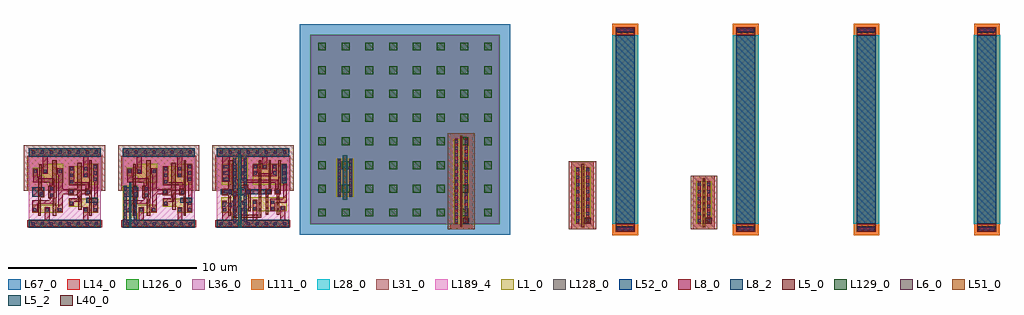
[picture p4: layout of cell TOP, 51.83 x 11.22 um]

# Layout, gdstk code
import gdstk
lib = gdstk.Library(unit=1e-6, precision=1e-09)
def R(c, l, rs):  # rectangles x0, y0, x1, y1
    for r in rs: c.add(gdstk.rectangle(r[:2], r[2:], *l))
def A(c, l, x, y, w, h, nx, ny, dx, dy):  # array of equal rectangles
    R(c, l, [(x+i*dx, y+j*dy, x+i*dx+w, y+j*dy+h) for i in range(nx) for j in range(ny)])
def P(c, l, *ps):  # polygons
    for p in ps: c.add(gdstk.Polygon(p, *l))
L1_0 = (1, 0)
L5_0 = (5, 0)
L5_2 = (5, 2)
L6_0 = (6, 0)
L8_0 = (8, 0)
L8_2 = (8, 2)
L14_0 = (14, 0)
L28_0 = (28, 0)
L31_0 = (31, 0)
L36_0 = (36, 0)
L40_0 = (40, 0)
L51_0 = (51, 0)
L52_0 = (52, 0)
L67_0 = (67, 0)
L111_0 = (111, 0)
L126_0 = (126, 0)
L128_0 = (128, 0)
L129_0 = (129, 0)
L189_4 = (189, 4)

sg13g2_dlygate4sd2_1 = lib.new_cell('sg13g2_dlygate4sd2_1')
R(sg13g2_dlygate4sd2_1, L1_0, [(0,-0.15,3.84,0.15), (0.19,0.59,1.81,1.01), (0,3.63,3.84,3.93)])
P(sg13g2_dlygate4sd2_1, L1_0, [(2.895,0.59),(2.895,0.91),(2.13,0.91),(2.13,1.33),(3.705,1.33),(3.705,0.59)],
  [(2.13,2.06),(2.13,3.06),(2.91,3.06),(2.91,3.18),(3.705,3.18),(3.705,2.06)],
  [(0.8,2.18),(0.8,2.555),(0.22,2.555),(0.22,2.975),(0.8,2.975),(0.8,3.18),(1.84,3.18),(1.84,2.18)])
P(sg13g2_dlygate4sd2_1, L5_0, [(2.645,0.73),(2.645,1.52),(2.12,1.52),(2.12,1.85),(2.575,1.85),(2.575,3.24),(2.825,3.24),(2.825,0.73)],
  [(0.53,0.41),(0.53,2.48),(0.56,2.48),(0.56,3.155),(0.69,3.155),(0.69,1.74),(0.84,1.74),(0.84,1.41),(0.66,1.41),(0.66,0.41)],
  [(1.29,0.41),(1.29,1.35),(1.05,1.35),(1.05,2.02),(1.25,2.02),(1.25,3.36),(1.5,3.36),(1.5,1.35),(1.47,1.35),(1.47,0.41)],
  [(3.235,0.41),(3.235,1.515),(3.02,1.515),(3.02,1.845),(3.235,1.845),(3.235,3.36),(3.365,3.36),(3.365,0.41)])
A(sg13g2_dlygate4sd2_1, L6_0, 0.16, -0.08, 0.16, 0.16, 8, 2, 0.48, 3.78)
A(sg13g2_dlygate4sd2_1, L6_0, 2.215, 2.15, 0.16, 0.16, 1, 3, 0, 0.34)
A(sg13g2_dlygate4sd2_1, L6_0, 3.475, 2.27, 0.16, 0.16, 1, 3, 0, 0.34)
R(sg13g2_dlygate4sd2_1, L6_0, [(0.26,0.66,0.42,0.82), (0.91,0.66,1.07,0.82), (1.58,0.66,1.74,0.82), (2.965,0.66,3.125,0.82), (3.475,0.66,3.635,0.82), (3.475,1,3.635,1.16), (2.2,1.015,2.36,1.175), (1.165,1.435,1.325,1.595), (0.605,1.495,0.765,1.655), (3.105,1.6,3.265,1.76), (2.19,1.605,2.35,1.765), (1.165,1.775,1.325,1.935), (2.95,2.495,3.11,2.655), (0.29,2.7,0.45,2.86), (0.8,2.7,0.96,2.86), (1.61,2.7,1.77,2.86), (2.95,2.835,3.11,2.995)])
R(sg13g2_dlygate4sd2_1, L8_0, [(0.205,1.425,0.835,1.945)])
P(sg13g2_dlygate4sd2_1, L8_0, [(2.155,0.96),(2.155,1.36),(2.58,1.36),(2.58,1.81),(3.045,1.81),(3.045,2.03),(2.165,2.03),(2.165,3.04),(2.425,3.04),(2.425,2.205),(3.205,2.205),(3.205,1.81),(3.315,1.81),(3.315,1.55),(2.74,1.55),(2.74,1.16),(2.395,1.16),(2.395,0.96)],
  [(1.52,0.61),(1.52,0.87),(1.58,0.87),(1.58,2.615),(1.52,2.615),(1.52,2.945),(1.825,2.945),(1.825,1.815),(2.4,1.815),(2.4,1.555),(1.81,1.555),(1.81,0.61)],
  [(0.21,0.61),(0.21,1.24),(1.12,1.24),(1.12,2.195),(0.24,2.195),(0.24,2.91),(0.5,2.91),(0.5,2.4),(1.375,2.4),(1.375,1.065),(0.48,1.065),(0.48,0.61)],
  [(3.425,0.61),(3.425,1.115),(3.065,1.115),(3.065,1.37),(3.495,1.37),(3.495,2.22),(3.43,2.22),(3.43,3.16),(3.685,3.16),(3.685,0.61)],
  [(2.9,2.455),(2.9,3.56),(1.01,3.56),(1.01,2.65),(0.745,2.65),(0.745,3.56),(0,3.56),(0,4),(3.84,4),(3.84,3.56),(3.16,3.56),(3.16,2.455)],
  [(0,-0.22),(0,0.22),(0.86,0.22),(0.86,0.87),(1.12,0.87),(1.12,0.22),(2.915,0.22),(2.915,0.87),(3.175,0.87),(3.175,0.22),(3.84,0.22),(3.84,-0.22)])
R(sg13g2_dlygate4sd2_1, L8_2, [(0,-0.22,3.84,0.22), (3.065,1.115,3.685,1.37), (0.205,1.425,0.835,1.945), (0,3.56,3.84,4)])
R(sg13g2_dlygate4sd2_1, L14_0, [(-0.07,-0.18,3.91,0.18), (-0.07,1.76,3.91,3.6)])
R(sg13g2_dlygate4sd2_1, L31_0, [(-0.24,1.75,4.08,4.17)])
R(sg13g2_dlygate4sd2_1, L189_4, [(0,0,3.84,3.78)])
sg13g2_dlygate4sd2_1.add(gdstk.Label('X', (3.36,1.26), layer=8, texttype=25))
sg13g2_dlygate4sd2_1.add(gdstk.Label('VDD', (2.085,3.79), layer=8, texttype=25))
sg13g2_dlygate4sd2_1.add(gdstk.Label('VSS', (2.2,0.005), layer=8, texttype=25))
sg13g2_dlygate4sd2_1.add(gdstk.Label('A', (0.52,1.68), layer=8, texttype=25))

sg13g2_inv_2 = lib.new_cell('sg13g2_inv_2')
R(sg13g2_inv_2, L1_0, [(0,-0.15,1.92,0.15), (0.265,0.59,1.585,1.33), (0.265,2.06,1.59,3.18), (0,3.63,1.92,3.93)])
P(sg13g2_inv_2, L5_0, [(0.605,0.41),(0.605,1.52),(0.305,1.52),(0.305,1.85),(0.605,1.85),(0.605,3.36),(0.735,3.36),(0.735,1.67),(1.115,1.67),(1.115,3.36),(1.245,3.36),(1.245,0.41),(1.115,0.41),(1.115,1.52),(0.735,1.52),(0.735,0.41)])
A(sg13g2_inv_2, L6_0, 0.335, 0.66, 0.16, 0.16, 3, 2, 0.51, 0.34)
A(sg13g2_inv_2, L6_0, 0.335, 2.27, 0.16, 0.16, 1, 3, 0, 0.34)
A(sg13g2_inv_2, L6_0, 0.845, 2.27, 0.16, 0.16, 1, 3, 0, 0.34)
A(sg13g2_inv_2, L6_0, 1.36, 2.27, 0.16, 0.16, 1, 3, 0, 0.34)
R(sg13g2_inv_2, L6_0, [(0.16,-0.08,0.32,0.08), (0.16,-0.08,0.32,0.08), (0.64,-0.08,0.8,0.08), (0.64,-0.08,0.8,0.08), (1.12,-0.08,1.28,0.08), (1.12,-0.08,1.28,0.08), (1.6,-0.08,1.76,0.08), (1.6,-0.08,1.76,0.08), (0.39,1.605,0.55,1.765), (0.16,3.7,0.32,3.86), (0.16,3.7,0.32,3.86), (0.64,3.7,0.8,3.86), (0.64,3.7,0.8,3.86), (1.12,3.7,1.28,3.86), (1.12,3.7,1.28,3.86), (1.6,3.7,1.76,3.86), (1.6,3.7,1.76,3.86)])
R(sg13g2_inv_2, L8_0, [(0.255,1.52,0.635,1.85)])
P(sg13g2_inv_2, L8_0, [(0.285,2.22),(0.285,3.56),(0,3.56),(0,4),(1.92,4),(1.92,3.56),(1.57,3.56),(1.57,2.22),(1.31,2.22),(1.31,3.56),(0.545,3.56),(0.545,2.22)],
  [(0,-0.22),(0,0.22),(0.285,0.22),(0.285,1.21),(0.545,1.21),(0.545,0.22),(1.305,0.22),(1.305,1.21),(1.565,1.21),(1.565,0.22),(1.92,0.22),(1.92,-0.22)],
  [(0.795,0.61),(0.795,1.21),(0.87,1.21),(0.87,2.22),(0.795,2.22),(0.795,3.18),(1.055,3.18),(1.055,1.85),(1.59,1.85),(1.59,1.52),(1.055,1.52),(1.055,0.61)])
R(sg13g2_inv_2, L8_2, [(0,-0.22,1.92,0.22), (0.255,1.52,0.635,1.85), (0.87,1.52,1.59,1.85), (0,3.56,1.92,4)])
R(sg13g2_inv_2, L14_0, [(-0.07,-0.18,1.99,0.18), (-0.07,1.76,1.99,3.6)])
R(sg13g2_inv_2, L31_0, [(-0.24,1.75,2.16,4.17)])
R(sg13g2_inv_2, L189_4, [(0,0,1.92,3.78)])
sg13g2_inv_2.add(gdstk.Label('VSS', (0.89,0), layer=8, texttype=25))
sg13g2_inv_2.add(gdstk.Label('VDD', (0.935,3.785), layer=8, texttype=25))
sg13g2_inv_2.add(gdstk.Label('Y', (1.44,1.68), layer=8, texttype=25))
sg13g2_inv_2.add(gdstk.Label('A', (0.48,1.68), layer=8, texttype=25))

dline = lib.new_cell('DLine')
dline.add(gdstk.Reference(sg13g2_dlygate4sd2_1, (0,0)))
dline.add(gdstk.Reference(sg13g2_dlygate4sd2_1, (4.998,0)))
dline.add(gdstk.Reference(sg13g2_inv_2, (9.996,0)))

nmos = lib.new_cell('nmos')
R(nmos, L1_0, [(0,0,0.3,0.3), (0,0,0.81,2), (0.51,0,0.81,0.3)])
R(nmos, L5_0, [(0.34,-0.18,0.47,2.18)])
R(nmos, L5_2, [(0.34,-0.18,0.47,2.18)])
A(nmos, L6_0, 0.07, 0.07, 0.16, 0.16, 1, 6, 0, 0.34)
A(nmos, L6_0, 0.58, 0.07, 0.16, 0.16, 1, 6, 0, 0.34)
R(nmos, L8_0, [(0.07,0,0.23,2), (0.58,0,0.74,2)])
R(nmos, L8_2, [(0.07,0,0.23,2), (0.58,0,0.74,2)])
R(nmos, L51_0, [(0.34,-0.18,0.47,2.18)])
nmos.add(gdstk.Label('nmos', (0.405,1), layer=63, texttype=0))
nmos.add(gdstk.Label('nmos', (0.405,1), layer=51, texttype=0))

nmos_1 = lib.new_cell('nmos$1')
R(nmos_1, L1_0, [(0,0,0.3,0.3), (0,0,0.84,3.5), (0.54,0,0.84,0.3)])
R(nmos_1, L5_0, [(0.34,-0.18,0.5,3.68)])
R(nmos_1, L5_2, [(0.34,-0.18,0.5,3.68)])
A(nmos_1, L6_0, 0.07, 0.07, 0.16, 0.16, 1, 9, 0, 0.355)
A(nmos_1, L6_0, 0.61, 0.07, 0.16, 0.16, 1, 9, 0, 0.355)
R(nmos_1, L6_0, [(0.07,3.27,0.23,3.43), (0.61,3.27,0.77,3.43)])
R(nmos_1, L8_0, [(0.07,0,0.23,3.5), (0.61,0,0.77,3.5)])
R(nmos_1, L8_2, [(0.07,0,0.23,3.5), (0.61,0,0.77,3.5)])
R(nmos_1, L51_0, [(0.34,-0.18,0.5,3.68)])
nmos_1.add(gdstk.Label('nmos', (0.42,1.75), layer=63, texttype=0))
nmos_1.add(gdstk.Label('nmos', (0.42,1.75), layer=51, texttype=0))

nmos_2 = lib.new_cell('nmos$2')
R(nmos_2, L1_0, [(0,0,0.3,0.3), (0,0,0.93,2), (0.63,0,0.93,0.3)])
R(nmos_2, L5_0, [(0.34,-0.18,0.59,2.18)])
R(nmos_2, L5_2, [(0.34,-0.18,0.59,2.18)])
A(nmos_2, L6_0, 0.07, 0.07, 0.16, 0.16, 1, 6, 0, 0.34)
A(nmos_2, L6_0, 0.7, 0.07, 0.16, 0.16, 1, 6, 0, 0.34)
R(nmos_2, L8_0, [(0.07,0,0.23,2), (0.7,0,0.86,2)])
R(nmos_2, L8_2, [(0.07,0,0.23,2), (0.7,0,0.86,2)])
R(nmos_2, L51_0, [(0.34,-0.18,0.59,2.18)])
nmos_2.add(gdstk.Label('nmos', (0.465,1), layer=63, texttype=0))
nmos_2.add(gdstk.Label('nmos', (0.465,1), layer=51, texttype=0))

pmos = lib.new_cell('pmos')
R(pmos, L1_0, [(0,0,0.3,0.3), (0,0,0.81,4.5), (0.51,0,0.81,0.3)])
R(pmos, L5_0, [(0.34,-0.18,0.47,4.68), (0.34,-0.18,0.47,4.68)])
A(pmos, L6_0, 0.07, 0.07, 0.16, 0.16, 1, 13, 0, 0.35)
A(pmos, L6_0, 0.58, 0.07, 0.16, 0.16, 1, 13, 0, 0.35)
R(pmos, L8_0, [(0.07,0,0.23,4.5), (0.07,0,0.23,4.5), (0.58,0,0.74,4.5), (0.58,0,0.74,4.5)])
R(pmos, L14_0, [(-0.18,-0.3,0.99,4.8)])
R(pmos, L31_0, [(-0.31,-0.31,1.12,4.81)])
R(pmos, L40_0, [(0.51,0,0.81,0.3)])
R(pmos, L51_0, [(0.34,-0.18,0.47,4.68)])
pmos.add(gdstk.Label('pmos', (0.405,2.25), layer=63, texttype=0))
pmos.add(gdstk.Label('pmos', (0.405,2.25), layer=51, texttype=0))

pmos_1 = lib.new_cell('pmos$1')
R(pmos_1, L1_0, [(0,0,0.3,0.3), (0,0,0.84,3), (0.54,0,0.84,0.3)])
R(pmos_1, L5_0, [(0.34,-0.18,0.5,3.18), (0.34,-0.18,0.5,3.18)])
A(pmos_1, L6_0, 0.07, 0.07, 0.16, 0.16, 1, 7, 0, 0.385)
A(pmos_1, L6_0, 0.61, 0.07, 0.16, 0.16, 1, 7, 0, 0.385)
R(pmos_1, L6_0, [(0.07,2.77,0.23,2.93), (0.61,2.77,0.77,2.93)])
R(pmos_1, L8_0, [(0.07,0,0.23,3), (0.07,0,0.23,3), (0.61,0,0.77,3), (0.61,0,0.77,3)])
R(pmos_1, L14_0, [(-0.18,-0.3,1.02,3.3)])
R(pmos_1, L31_0, [(-0.31,-0.31,1.15,3.31)])
R(pmos_1, L40_0, [(0.54,0,0.84,0.3)])
R(pmos_1, L51_0, [(0.34,-0.18,0.5,3.18)])
pmos_1.add(gdstk.Label('pmos', (0.42,1.5), layer=63, texttype=0))
pmos_1.add(gdstk.Label('pmos', (0.42,1.5), layer=51, texttype=0))

pmos_2 = lib.new_cell('pmos$2')
R(pmos_2, L1_0, [(0,0,0.3,0.3), (0,0,0.81,2.24), (0.51,0,0.81,0.3)])
R(pmos_2, L5_0, [(0.34,-0.18,0.47,2.42), (0.34,-0.18,0.47,2.42)])
A(pmos_2, L6_0, 0.07, 1.23, 0.16, 0.16, 1, 3, 0, 0.39)
A(pmos_2, L6_0, 0.58, 1.23, 0.16, 0.16, 1, 3, 0, 0.39)
R(pmos_2, L6_0, [(0.07,0.07,0.23,0.23), (0.58,0.07,0.74,0.23), (0.07,0.455,0.23,0.615), (0.58,0.455,0.74,0.615), (0.07,0.845,0.23,1.005), (0.58,0.845,0.74,1.005)])
R(pmos_2, L8_0, [(0.07,0,0.23,2.24), (0.07,0,0.23,2.24), (0.58,0,0.74,2.24), (0.58,0,0.74,2.24)])
R(pmos_2, L14_0, [(-0.18,-0.3,0.99,2.54)])
R(pmos_2, L31_0, [(-0.31,-0.31,1.12,2.55)])
R(pmos_2, L40_0, [(0.51,0,0.81,0.3)])
R(pmos_2, L51_0, [(0.34,-0.18,0.47,2.42)])
pmos_2.add(gdstk.Label('pmos', (0.405,1.12), layer=63, texttype=0))
pmos_2.add(gdstk.Label('pmos', (0.405,1.12), layer=51, texttype=0))

vcdl = lib.new_cell('VCDL')
vcdl.add(gdstk.Reference(nmos, (0,0)))
vcdl.add(gdstk.Reference(nmos_1, (5.81,0)))
vcdl.add(gdstk.Reference(nmos_2, (11.345,1.44)))
vcdl.add(gdstk.Reference(pmos, (17.58,0)))
vcdl.add(gdstk.Reference(pmos_1, (24.01,0)))
vcdl.add(gdstk.Reference(pmos_2, (30.47,0)))

sg13g2_xor2_1 = lib.new_cell('sg13g2_xor2_1')
R(sg13g2_xor2_1, L1_0, [(0,-0.15,3.84,0.15), (1.9,2.06,3.73,3.18), (0.395,2.18,1.6,3.18), (0,3.63,3.84,3.93)])
P(sg13g2_xor2_1, L1_0, [(1.88,0.65),(1.88,0.84),(0.235,0.84),(0.235,1.39),(3.73,1.39),(3.73,0.65)])
P(sg13g2_xor2_1, L5_0, [(1.68,0.66),(1.68,1.55),(1.51,1.55),(1.51,1.91),(1.13,1.91),(1.13,3.365),(1.26,3.365),(1.26,2.06),(1.67,2.06),(1.67,1.85),(1.81,1.85),(1.81,0.66)],
  [(2.61,0.47),(2.61,1.85),(2.75,1.85),(2.75,3.365),(2.88,3.365),(2.88,1.85),(2.91,1.85),(2.91,1.55),(2.74,1.55),(2.74,0.47)],
  [(3.18,0.47),(3.18,1.55),(3.09,1.55),(3.09,1.85),(3.26,1.85),(3.26,3.365),(3.39,3.365),(3.39,1.55),(3.31,1.55),(3.31,0.47)],
  [(0.915,0.32),(0.915,1.55),(0.54,1.55),(0.54,1.85),(0.755,1.85),(0.755,3.365),(0.885,3.365),(0.885,1.72),(1.045,1.72),(1.045,0.47),(2.24,0.47),(2.24,3.365),(2.37,3.365),(2.37,0.32)])
A(sg13g2_xor2_1, L6_0, 0.16, -0.08, 0.16, 0.16, 8, 2, 0.48, 3.78)
A(sg13g2_xor2_1, L6_0, 0.485, 2.27, 0.16, 0.16, 1, 3, 0, 0.34)
A(sg13g2_xor2_1, L6_0, 1.37, 2.27, 0.16, 0.16, 1, 3, 0, 0.34)
A(sg13g2_xor2_1, L6_0, 1.97, 2.95, 0.16, 0.16, 4, 1, 0.51, 0)
R(sg13g2_xor2_1, L6_0, [(1.95,0.72,2.11,0.88), (2.885,0.72,3.045,0.88), (3.42,0.725,3.58,0.885), (0.305,0.91,0.465,1.07), (0.645,0.91,0.805,1.07), (1.155,0.91,1.315,1.07), (1.95,1.06,2.11,1.22), (2.885,1.06,3.045,1.22), (0.61,1.62,0.77,1.78), (1.58,1.62,1.74,1.78), (2.68,1.62,2.84,1.78), (3.16,1.62,3.32,1.78), (3.5,2.27,3.66,2.43), (1.97,2.61,2.13,2.77), (2.99,2.61,3.15,2.77), (3.5,2.61,3.66,2.77)])
R(sg13g2_xor2_1, L8_0, [(0.2,1.55,0.82,1.83), (1.53,1.55,2.89,1.83)])
P(sg13g2_xor2_1, L8_0, [(1.92,2.52),(1.92,3.16),(2.18,3.16),(2.18,2.68),(2.94,2.68),(2.94,3.16),(3.2,3.16),(3.2,2.52)],
  [(0.435,2.22),(0.435,3.56),(0,3.56),(0,4),(3.84,4),(3.84,3.56),(2.69,3.56),(2.69,2.9),(2.43,2.9),(2.43,3.56),(0.695,3.56),(0.695,2.22)],
  [(0,-0.22),(0,0.22),(0.285,0.22),(0.285,1.12),(0.82,1.12),(0.82,0.22),(1.9,0.22),(1.9,1.27),(2.16,1.27),(2.16,0.22),(3.37,0.22),(3.37,0.935),(3.63,0.935),(3.63,0.22),(3.84,0.22),(3.84,-0.22)],
  [(2.835,0.67),(2.835,1.315),(3.53,1.315),(3.53,2.155),(3.45,2.155),(3.45,3.16),(3.71,3.16),(3.71,1.115),(3.1,1.115),(3.1,0.67)],
  [(1.03,0.86),(1.03,2.34),(1.32,2.34),(1.32,3.16),(1.58,3.16),(1.58,2.34),(3.27,2.34),(3.27,1.83),(3.35,1.83),(3.35,1.57),(3.11,1.57),(3.11,2.17),(1.2,2.17),(1.2,1.12),(1.365,1.12),(1.365,0.86)])
R(sg13g2_xor2_1, L8_2, [(0,-0.22,3.84,0.22), (0.2,1.55,0.82,1.83), (1.53,1.55,2.89,1.83), (3.45,2.155,3.71,3.16), (0,3.56,3.84,4)])
R(sg13g2_xor2_1, L14_0, [(-0.07,-0.18,3.91,0.18), (-0.07,1.76,3.91,3.6)])
R(sg13g2_xor2_1, L31_0, [(-0.24,1.75,4.08,4.17)])
R(sg13g2_xor2_1, L189_4, [(0,0,3.84,3.78)])
sg13g2_xor2_1.add(gdstk.Label('X', (3.505,2.635), layer=8, texttype=25))
sg13g2_xor2_1.add(gdstk.Label('VDD', (2.3,3.775), layer=8, texttype=25))
sg13g2_xor2_1.add(gdstk.Label('B', (2.255,1.725), layer=8, texttype=25))
sg13g2_xor2_1.add(gdstk.Label('A', (0.52,1.63), layer=8, texttype=25))
sg13g2_xor2_1.add(gdstk.Label('VSS', (2.09,0.02), layer=8, texttype=25))

c_pd = lib.new_cell('PD')
c_pd.add(gdstk.Reference(sg13g2_xor2_1, (0,0)))

cmim = lib.new_cell('cmim')
R(cmim, L36_0, [(0,0,10,10)])
R(cmim, L67_0, [(-0.6,-0.6,10.6,10.6)])
R(cmim, L126_0, [(-0.04,-0.04,10.04,10.04)])
A(cmim, L129_0, 0.38, 0.38, 0.42, 0.42, 8, 8, 1.26, 1.26)

rppd = lib.new_cell('rppd')
R(rppd, L5_0, [(0,-0.43,1,-0.2), (0,-0.2,1,0), (0,10,1,10.2), (0,10.2,1,10.43)])
R(rppd, L6_0, [(0.07,-0.36,0.93,-0.2), (0.07,10.2,0.93,10.36)])
R(rppd, L8_0, [(0.02,-0.43,0.98,-0.13), (0.02,10.13,0.98,10.43)])
R(rppd, L8_2, [(0.02,-0.43,0.98,-0.13), (0.02,10.13,0.98,10.43)])
R(rppd, L14_0, [(-0.18,-0.61,1.18,0), (-0.18,0,1.18,10), (-0.18,10,1.18,10.61)])
R(rppd, L28_0, [(-0.2,0,1.2,10)])
R(rppd, L52_0, [(0,0,1,10)])
R(rppd, L111_0, [(-0.18,-0.61,1.18,0), (-0.2,0,1.2,10), (-0.18,10,1.18,10.61)])
R(rppd, L128_0, [(0,0,1,10)])
rppd.add(gdstk.Label('rppd r=2654.493', (0.5,5), layer=63, texttype=0))
rppd.add(gdstk.Label('rppd', (0.5,5), layer=52, texttype=0))

res = lib.new_cell('RES')
res.add(gdstk.Reference(rppd, (0,0)))
res.add(gdstk.Reference(rppd, (6.4,0)))
res.add(gdstk.Reference(rppd, (12.8,0)))
res.add(gdstk.Reference(rppd, (19.2,0)))

c_cp = lib.new_cell('CP')
c_cp.add(gdstk.Reference(cmim, (0,0)))
c_cp.add(gdstk.Reference(res, (16.2,0)))

top = lib.new_cell('TOP')
top.add(gdstk.Reference(dline, (0,0)))
top.add(gdstk.Reference(vcdl, (4.998,0)))
top.add(gdstk.Reference(c_pd, (9.996,0)))
top.add(gdstk.Reference(c_cp, (14.994,0)))

lib.write_gds('TOP.gds')
